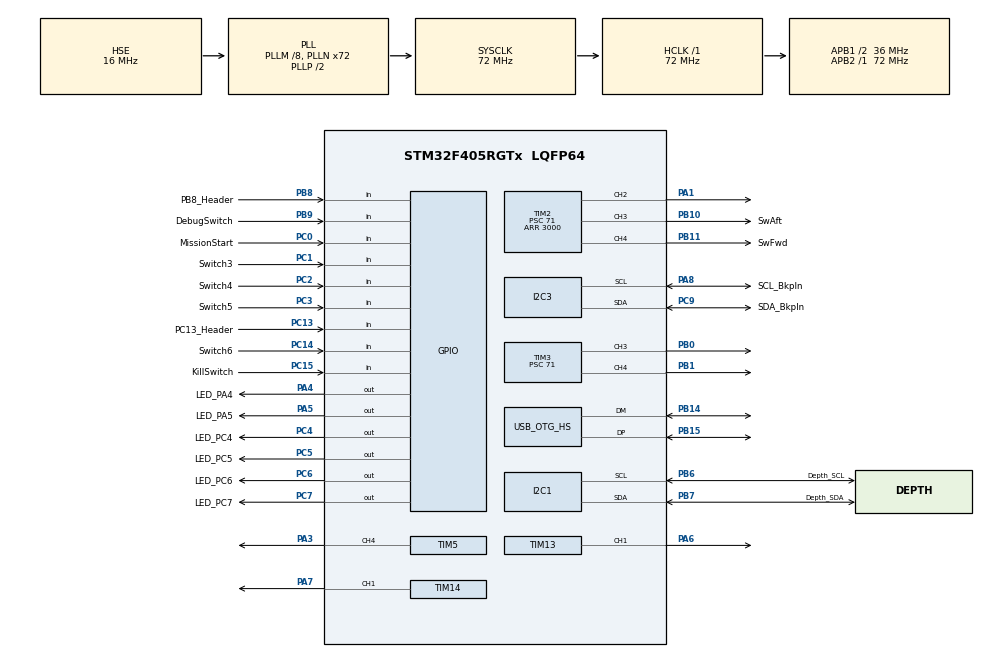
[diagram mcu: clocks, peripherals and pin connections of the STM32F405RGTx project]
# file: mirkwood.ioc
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FREERTOS.Tasks01=defaultTask,0,128,StartDefaultTask,Default,NULL
Mcu.Family=STM32F4
Mcu.Name=STM32F405RGTx
Mcu.Package=LQFP64
NVIC.OTG_HS_IRQn=true\:5\:0\:false\:false\:true\:true\:false
NVIC.PriorityGroup=NVIC_PRIORITYGROUP_4
NVIC.TIM1_UP_TIM10_IRQn=true\:0\:0\:false\:false\:true\:false\:false
NVIC.TimeBase=TIM1_UP_TIM10_IRQn
NVIC.TimeBaseIP=TIM1
PA1.Signal=S_TIM2_CH2
PA13.Mode=JTAG_5_pins
PA13.Signal=SYS_JTMS-SWDIO
PA14.Mode=JTAG_5_pins
PA14.Signal=SYS_JTCK-SWCLK
PA15.Mode=JTAG_5_pins
PA15.Signal=SYS_JTDI
PA3.Signal=S_TIM5_CH4
PA4.GPIO_Label=LED_PA4
PA4.PinState=GPIO_PIN_RESET
PA4.Signal=GPIO_Output
PA5.GPIO_Label=LED_PA5
PA5.Signal=GPIO_Output
PA6.Signal=S_TIM13_CH1
PA7.Signal=S_TIM14_CH1
PA8.GPIO_Label=SCL_Bkpln
PA8.Mode=I2C
PA8.Signal=I2C3_SCL
PB0.Signal=S_TIM3_CH3
PB1.Signal=S_TIM3_CH4
PB10.GPIO_Label=SwAft
PB10.Signal=S_TIM2_CH3
PB11.GPIO_Label=SwFwd
PB11.Signal=S_TIM2_CH4
PB14.Mode=Device_Only_FS
PB14.Signal=USB_OTG_HS_DM
PB15.Mode=Device_Only_FS
PB15.Signal=USB_OTG_HS_DP
PB3.Mode=JTAG_5_pins
PB3.Signal=SYS_JTDO-SWO
PB4.Mode=JTAG_5_pins
PB4.Signal=SYS_JTRST
PB6.GPIO_Label=Depth_SCL
PB6.Mode=I2C
PB6.Signal=I2C1_SCL
PB7.GPIO_Label=Depth_SDA
PB7.Mode=I2C
PB7.Signal=I2C1_SDA
PB8.GPIO_Label=PB8_Header
PB8.Signal=GPIO_Input
PB9.GPIO_Label=DebugSwitch
PB9.Signal=GPIO_Input
PC0.GPIO_Label=MissionStart
PC0.GPIO_PuPd=GPIO_PULLDOWN
PC0.Signal=GPIO_Input
PC1.GPIO_Label=Switch3
PC1.GPIO_PuPd=GPIO_PULLDOWN
PC1.Signal=GPIO_Input
PC13-ANTI_TAMP.GPIO_Label=PC13_Header
PC13-ANTI_TAMP.Signal=GPIO_Input
PC14-OSC32_IN.GPIO_Label=Switch6
PC14-OSC32_IN.GPIO_PuPd=GPIO_PULLDOWN
PC14-OSC32_IN.Signal=GPIO_Input
PC15-OSC32_OUT.GPIO_Label=KillSwitch
PC15-OSC32_OUT.GPIO_PuPd=GPIO_PULLDOWN
PC15-OSC32_OUT.Signal=GPIO_Input
PC2.GPIO_Label=Switch4
PC2.GPIO_PuPd=GPIO_PULLDOWN
PC2.Signal=GPIO_Input
PC3.GPIO_Label=Switch5
PC3.GPIO_PuPd=GPIO_PULLDOWN
PC3.Signal=GPIO_Input
PC4.GPIO_Label=LED_PC4
PC4.Signal=GPIO_Output
PC5.GPIO_Label=LED_PC5
PC5.Signal=GPIO_Output
PC6.GPIO_Label=LED_PC6
PC6.Signal=GPIO_Output
PC7.GPIO_Label=LED_PC7
PC7.Signal=GPIO_Output
PC9.GPIO_Label=SDA_Bkpln
PC9.Mode=I2C
PC9.Signal=I2C3_SDA
PH0-OSC_IN.Mode=HSE-External-Oscillator
PH0-OSC_IN.Signal=RCC_OSC_IN
PH1-OSC_OUT.Mode=HSE-External-Oscillator
PH1-OSC_OUT.Signal=RCC_OSC_OUT
ProjectManager.HeapSize=0x200
ProjectManager.StackSize=0x400
ProjectManager.TargetToolchain=Makefile
RCC.48MHZClocksFreq_Value=48000000
RCC.AHBFreq_Value=72000000
RCC.APB1CLKDivider=RCC_HCLK_DIV2
RCC.APB1Freq_Value=36000000
RCC.APB1TimFreq_Value=72000000
RCC.APB2Freq_Value=72000000
RCC.APB2TimFreq_Value=72000000
RCC.CortexFreq_Value=72000000
RCC.HCLKFreq_Value=72000000
RCC.HSE_VALUE=16000000
RCC.HSI_VALUE=16000000
RCC.LSE_VALUE=32768
RCC.PLLM=8
RCC.PLLN=72
RCC.PLLQ=3
RCC.SYSCLKFreq_VALUE=72000000
RCC.SYSCLKSource=RCC_SYSCLKSOURCE_PLLCLK
RCC.VCOOutputFreq_Value=144000000
SH.S_TIM13_CH1.0=TIM13_CH1,PWM Generation1 CH1
SH.S_TIM14_CH1.0=TIM14_CH1,PWM Generation1 CH1
SH.S_TIM2_CH2.0=TIM2_CH2,PWM Generation2 CH2
SH.S_TIM2_CH3.0=TIM2_CH3,PWM Generation3 CH3
SH.S_TIM2_CH4.0=TIM2_CH4,PWM Generation4 CH4
SH.S_TIM3_CH3.0=TIM3_CH3,PWM Generation3 CH3
SH.S_TIM3_CH4.0=TIM3_CH4,PWM Generation4 CH4
SH.S_TIM5_CH4.0=TIM5_CH4,PWM Generation4 CH4
TIM13.Channel=TIM_CHANNEL_1
TIM13.Period=3000
TIM13.Prescaler=71
TIM13.Pulse=1500
TIM14.Channel=TIM_CHANNEL_1
TIM14.Period=3000
TIM14.Prescaler=71
TIM14.Pulse=1500
TIM2.Channel-PWM\ Generation2\ CH2=TIM_CHANNEL_2
TIM2.Channel-PWM\ Generation3\ CH3=TIM_CHANNEL_3
TIM2.Channel-PWM\ Generation4\ CH4=TIM_CHANNEL_4
TIM2.Period=3000
TIM2.Prescaler=71
TIM2.Pulse-PWM\ Generation3\ CH3=1500
TIM2.Pulse-PWM\ Generation4\ CH4=1500
TIM3.Channel-PWM\ Generation3\ CH3=TIM_CHANNEL_3
TIM3.Channel-PWM\ Generation4\ CH4=TIM_CHANNEL_4
TIM3.Period=3000
TIM3.Prescaler=71
TIM3.Pulse-PWM\ Generation3\ CH3=1500
TIM3.Pulse-PWM\ Generation4\ CH4=1500
TIM5.Channel-PWM\ Generation4\ CH4=TIM_CHANNEL_4
TIM5.Period=3000
TIM5.Prescaler=71
TIM5.Pulse-PWM\ Generation4\ CH4=1500
USB_DEVICE.CLASS_NAME_HS=CDC
USB_DEVICE.PRODUCT_STRING_CDC_HS=STM32Corpro
USB_DEVICE.VirtualMode-CDC_HS=Cdc
USB_DEVICE.VirtualModeHS=Cdc_HS
USB_OTG_HS.VirtualMode-Device_Only_FS=Device_Only_FS
VP_FREERTOS_VS_ENABLE.Mode=Enabled
VP_SYS_VS_tim1.Mode=TIM1
VP_TIM13_VS_ClockSourceINT.Mode=Enable_Timer
VP_TIM14_VS_ClockSourceINT.Mode=Enable_Timer
VP_USB_DEVICE_VS_USB_DEVICE_CDC_HS.Mode=CDC_HS
board=mirkwood

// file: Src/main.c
/**
  ******************************************************************************
  * @file           : main.c
  * @brief          : Main program body
  ******************************************************************************
  * This notice applies to any and all portions of this file
  * that are not between comment pairs USER CODE BEGIN and
  * USER CODE END. Other portions of this file, whether
  * inserted by the user or by software development tools
  * are owned by their respective copyright owners.
  *
  * Copyright (c) 2018 STMicroelectronics International N.V.
  * All rights reserved.
  *
  * Redistribution and use in source and binary forms, with or without
  * modification, are permitted, provided that the following conditions are met:
  *
  * 1. Redistribution of source code must retain the above copyright notice,
  *    this list of conditions and the following disclaimer.
  * 2. Redistributions in binary form must reproduce the above copyright notice,
  *    this list of conditions and the following disclaimer in the documentation
  *    and/or other materials provided with the distribution.
  * 3. Neither the name of STMicroelectronics nor the names of other
  *    contributors to this software may be used to endorse or promote products
  *    derived from this software without specific written permission.
  * 4. This software, including modifications and/or derivative works of this
  *    software, must execute solely and exclusively on microcontroller or
  *    microprocessor devices manufactured by or for STMicroelectronics.
  * 5. Redistribution and use of this software other than as permitted under
  *    this license is void and will automatically terminate your rights under
  *    this license.
  *
  * THIS SOFTWARE IS PROVIDED BY STMICROELECTRONICS AND CONTRIBUTORS "AS IS"
  * AND ANY EXPRESS, IMPLIED OR STATUTORY WARRANTIES, INCLUDING, BUT NOT
  * LIMITED TO, THE IMPLIED WARRANTIES OF MERCHANTABILITY, FITNESS FOR A
  * PARTICULAR PURPOSE AND NON-INFRINGEMENT OF THIRD PARTY INTELLECTUAL PROPERTY
  * RIGHTS ARE DISCLAIMED TO THE FULLEST EXTENT PERMITTED BY LAW. IN NO EVENT
  * SHALL STMICROELECTRONICS OR CONTRIBUTORS BE LIABLE FOR ANY DIRECT, INDIRECT,
  * INCIDENTAL, SPECIAL, EXEMPLARY, OR CONSEQUENTIAL DAMAGES (INCLUDING, BUT NOT
  * LIMITED TO, PROCUREMENT OF SUBSTITUTE GOODS OR SERVICES; LOSS OF USE, DATA,
  * OR PROFITS; OR BUSINESS INTERRUPTION) HOWEVER CAUSED AND ON ANY THEORY OF
  * LIABILITY, WHETHER IN CONTRACT, STRICT LIABILITY, OR TORT (INCLUDING
  * NEGLIGENCE OR OTHERWISE) ARISING IN ANY WAY OUT OF THE USE OF THIS SOFTWARE,
  * EVEN IF ADVISED OF THE POSSIBILITY OF SUCH DAMAGE.
  *
  ******************************************************************************
  */
#include "main.h"
#include "stm32f4xx_hal.h"
#include "cmsis_os.h"
#include "usb_device.h"
#include "../Middlewares/Third_Party/FreeRTOS/Source/CMSIS_RTOS/cmsis_os.h"

/* USER CODE BEGIN Includes */
#include "riptideMain.h"
/* USER CODE END Includes */

I2C_HandleTypeDef hi2c1;
I2C_HandleTypeDef hi2c3;

TIM_HandleTypeDef htim2;
TIM_HandleTypeDef htim3;
TIM_HandleTypeDef htim5;
TIM_HandleTypeDef htim13;
TIM_HandleTypeDef htim14;

osThreadId defaultTaskHandle;

/* USER CODE BEGIN PV */
/* Private variables ---------------------------------------------------------*/

/* USER CODE END PV */

void SystemClock_Config(void);
static void MX_GPIO_Init(void);
static void MX_TIM2_Init(void);
static void MX_TIM13_Init(void);
static void MX_TIM14_Init(void);
static void MX_I2C3_Init(void);
static void MX_I2C1_Init(void);
static void MX_TIM3_Init(void);
static void MX_TIM5_Init(void);
void StartDefaultTask(void const * argument);

void HAL_TIM_MspPostInit(TIM_HandleTypeDef *htim);

/* USER CODE BEGIN PFP */
/* Private function prototypes -----------------------------------------------*/
I2C_HandleTypeDef* getDepthI2CRef();
I2C_HandleTypeDef* getBackplaneI2CRef();
/* USER CODE END PFP */

int main(void)
{

  /* MCU Configuration----------------------------------------------------------*/

  /* Reset of all peripherals, Initializes the Flash interface and the Systick. */
  HAL_Init();

  /* Configure the system clock */
  SystemClock_Config();

  /* Initialize all configured peripherals */
  MX_GPIO_Init();
  MX_TIM2_Init();
  MX_TIM13_Init();
  MX_TIM14_Init();
  MX_I2C3_Init();
  MX_I2C1_Init();
  MX_TIM3_Init();
  MX_TIM5_Init();

  /* USER CODE BEGIN RTOS_TIMERS */
  HAL_TIM_PWM_Start(&htim2, TIM_CHANNEL_1);
  HAL_TIM_PWM_Start(&htim2, TIM_CHANNEL_2);
  HAL_TIM_PWM_Start(&htim2, TIM_CHANNEL_3);
  HAL_TIM_PWM_Start(&htim2, TIM_CHANNEL_4);
  HAL_TIM_PWM_Start(&htim3, TIM_CHANNEL_3);
  HAL_TIM_PWM_Start(&htim3, TIM_CHANNEL_4);
  HAL_TIM_PWM_Start(&htim5, TIM_CHANNEL_3);
  HAL_TIM_PWM_Start(&htim5, TIM_CHANNEL_4);
  HAL_TIM_PWM_Start(&htim13, TIM_CHANNEL_1);
  HAL_TIM_PWM_Start(&htim14, TIM_CHANNEL_1);
  /* USER CODE END RTOS_TIMERS */

  /* Create the thread(s) */
  /* definition and creation of defaultTask */
  osThreadDef(defaultTask, StartDefaultTask, osPriorityNormal, 0, 128);
  defaultTaskHandle = osThreadCreate(osThread(defaultTask), NULL);

  /* USER CODE BEGIN RTOS_THREADS */
  riptideMain();

  /* USER CODE END RTOS_THREADS */

  /* Start scheduler */
  osKernelStart();

  /* We should never get here as control is now taken by the scheduler */

  /* Infinite loop */
  while (1)
  {

  }

}

void SystemClock_Config(void)
{

  RCC_OscInitTypeDef RCC_OscInitStruct;
  RCC_ClkInitTypeDef RCC_ClkInitStruct;

    /**Configure the main internal regulator output voltage
    */
  __HAL_RCC_PWR_CLK_ENABLE();

  __HAL_PWR_VOLTAGESCALING_CONFIG(PWR_REGULATOR_VOLTAGE_SCALE1);

    /**Initializes the CPU, AHB and APB busses clocks
    */
  RCC_OscInitStruct.OscillatorType = RCC_OSCILLATORTYPE_HSE;
  RCC_OscInitStruct.HSEState = RCC_HSE_ON;
  RCC_OscInitStruct.PLL.PLLState = RCC_PLL_ON;
  RCC_OscInitStruct.PLL.PLLSource = RCC_PLLSOURCE_HSE;
  RCC_OscInitStruct.PLL.PLLM = 8;
  RCC_OscInitStruct.PLL.PLLN = 72;
  RCC_OscInitStruct.PLL.PLLP = RCC_PLLP_DIV2;
  RCC_OscInitStruct.PLL.PLLQ = 3;
  if (HAL_RCC_OscConfig(&RCC_OscInitStruct) != HAL_OK)
  {
    _Error_Handler(__FILE__, __LINE__);
  }

    /**Initializes the CPU, AHB and APB busses clocks
    */
  RCC_ClkInitStruct.ClockType = RCC_CLOCKTYPE_HCLK|RCC_CLOCKTYPE_SYSCLK
                              |RCC_CLOCKTYPE_PCLK1|RCC_CLOCKTYPE_PCLK2;
  RCC_ClkInitStruct.SYSCLKSource = RCC_SYSCLKSOURCE_PLLCLK;
  RCC_ClkInitStruct.AHBCLKDivider = RCC_SYSCLK_DIV1;
  RCC_ClkInitStruct.APB1CLKDivider = RCC_HCLK_DIV2;
  RCC_ClkInitStruct.APB2CLKDivider = RCC_HCLK_DIV1;

  if (HAL_RCC_ClockConfig(&RCC_ClkInitStruct, FLASH_LATENCY_2) != HAL_OK)
  {
    _Error_Handler(__FILE__, __LINE__);
  }

    /**Configure the Systick interrupt time
    */
  HAL_SYSTICK_Config(HAL_RCC_GetHCLKFreq()/1000);

    /**Configure the Systick
    */
  HAL_SYSTICK_CLKSourceConfig(SYSTICK_CLKSOURCE_HCLK);

  /* SysTick_IRQn interrupt configuration */
  HAL_NVIC_SetPriority(SysTick_IRQn, 15, 0);
}

/* I2C1 init function */
static void MX_I2C1_Init(void)
{

  hi2c1.Instance = I2C1;
  hi2c1.Init.ClockSpeed = 100000;
  hi2c1.Init.DutyCycle = I2C_DUTYCYCLE_2;
  hi2c1.Init.OwnAddress1 = 0;
  hi2c1.Init.AddressingMode = I2C_ADDRESSINGMODE_7BIT;
  hi2c1.Init.DualAddressMode = I2C_DUALADDRESS_DISABLE;
  hi2c1.Init.OwnAddress2 = 0;
  hi2c1.Init.GeneralCallMode = I2C_GENERALCALL_DISABLE;
  hi2c1.Init.NoStretchMode = I2C_NOSTRETCH_DISABLE;
  if (HAL_I2C_Init(&hi2c1) != HAL_OK)
  {
    _Error_Handler(__FILE__, __LINE__);
  }

}

/* I2C3 init function */
static void MX_I2C3_Init(void)
{

  hi2c3.Instance = I2C3;
  hi2c3.Init.ClockSpeed = 100000;
  hi2c3.Init.DutyCycle = I2C_DUTYCYCLE_2;
  hi2c3.Init.OwnAddress1 = 0;
  hi2c3.Init.AddressingMode = I2C_ADDRESSINGMODE_7BIT;
  hi2c3.Init.DualAddressMode = I2C_DUALADDRESS_DISABLE;
  hi2c3.Init.OwnAddress2 = 0;
  hi2c3.Init.GeneralCallMode = I2C_GENERALCALL_DISABLE;
  hi2c3.Init.NoStretchMode = I2C_NOSTRETCH_DISABLE;
  if (HAL_I2C_Init(&hi2c3) != HAL_OK)
  {
    _Error_Handler(__FILE__, __LINE__);
  }

}

/* TIM2 init function */
static void MX_TIM2_Init(void)
{

  TIM_MasterConfigTypeDef sMasterConfig;
  TIM_OC_InitTypeDef sConfigOC;

  htim2.Instance = TIM2;
  htim2.Init.Prescaler = 71;
  htim2.Init.CounterMode = TIM_COUNTERMODE_UP;
  htim2.Init.Period = 3000;
  htim2.Init.ClockDivision = TIM_CLOCKDIVISION_DIV1;
  if (HAL_TIM_PWM_Init(&htim2) != HAL_OK)
  {
    _Error_Handler(__FILE__, __LINE__);
  }

  sMasterConfig.MasterOutputTrigger = TIM_TRGO_RESET;
  sMasterConfig.MasterSlaveMode = TIM_MASTERSLAVEMODE_DISABLE;
  if (HAL_TIMEx_MasterConfigSynchronization(&htim2, &sMasterConfig) != HAL_OK)
  {
    _Error_Handler(__FILE__, __LINE__);
  }

  sConfigOC.OCMode = TIM_OCMODE_PWM1;
  sConfigOC.Pulse = 1500;
  sConfigOC.OCPolarity = TIM_OCPOLARITY_HIGH;
  sConfigOC.OCFastMode = TIM_OCFAST_DISABLE;
  if (HAL_TIM_PWM_ConfigChannel(&htim2, &sConfigOC, TIM_CHANNEL_2) != HAL_OK)
  {
    _Error_Handler(__FILE__, __LINE__);
  }

  //sConfigOC.Pulse = 1500;
  if (HAL_TIM_PWM_ConfigChannel(&htim2, &sConfigOC, TIM_CHANNEL_3) != HAL_OK)
  {
    _Error_Handler(__FILE__, __LINE__);
  }

  if (HAL_TIM_PWM_ConfigChannel(&htim2, &sConfigOC, TIM_CHANNEL_4) != HAL_OK)
  {
    _Error_Handler(__FILE__, __LINE__);
  }

  HAL_TIM_MspPostInit(&htim2);

}

/* TIM3 init function */
static void MX_TIM3_Init(void)
{

  TIM_MasterConfigTypeDef sMasterConfig;
  TIM_OC_InitTypeDef sConfigOC;

  htim3.Instance = TIM3;
  htim3.Init.Prescaler = 71;
  htim3.Init.CounterMode = TIM_COUNTERMODE_UP;
  htim3.Init.Period = 3000;
  htim3.Init.ClockDivision = TIM_CLOCKDIVISION_DIV1;
  if (HAL_TIM_PWM_Init(&htim3) != HAL_OK)
  {
    _Error_Handler(__FILE__, __LINE__);
  }

  sMasterConfig.MasterOutputTrigger = TIM_TRGO_RESET;
  sMasterConfig.MasterSlaveMode = TIM_MASTERSLAVEMODE_DISABLE;
  if (HAL_TIMEx_MasterConfigSynchronization(&htim3, &sMasterConfig) != HAL_OK)
  {
    _Error_Handler(__FILE__, __LINE__);
  }

  sConfigOC.OCMode = TIM_OCMODE_PWM1;
  sConfigOC.Pulse = 1500;
  sConfigOC.OCPolarity = TIM_OCPOLARITY_HIGH;
  sConfigOC.OCFastMode = TIM_OCFAST_DISABLE;
  if (HAL_TIM_PWM_ConfigChannel(&htim3, &sConfigOC, TIM_CHANNEL_3) != HAL_OK)
  {
    _Error_Handler(__FILE__, __LINE__);
  }

  if (HAL_TIM_PWM_ConfigChannel(&htim3, &sConfigOC, TIM_CHANNEL_4) != HAL_OK)
  {
    _Error_Handler(__FILE__, __LINE__);
  }

  HAL_TIM_MspPostInit(&htim3);

}

/* TIM5 init function */
static void MX_TIM5_Init(void)
{

  TIM_MasterConfigTypeDef sMasterConfig;
  TIM_OC_InitTypeDef sConfigOC;

  htim5.Instance = TIM5;
  htim5.Init.Prescaler = 71;
  htim5.Init.CounterMode = TIM_COUNTERMODE_UP;
  htim5.Init.Period = 3000;
  htim5.Init.ClockDivision = TIM_CLOCKDIVISION_DIV1;
  if (HAL_TIM_PWM_Init(&htim5) != HAL_OK)
  {
    _Error_Handler(__FILE__, __LINE__);
  }

  sMasterConfig.MasterOutputTrigger = TIM_TRGO_RESET;
  sMasterConfig.MasterSlaveMode = TIM_MASTERSLAVEMODE_DISABLE;
  if (HAL_TIMEx_MasterConfigSynchronization(&htim5, &sMasterConfig) != HAL_OK)
  {
    _Error_Handler(__FILE__, __LINE__);
  }

  sConfigOC.OCMode = TIM_OCMODE_PWM1;
  sConfigOC.Pulse = 1500;
  sConfigOC.OCPolarity = TIM_OCPOLARITY_HIGH;
  sConfigOC.OCFastMode = TIM_OCFAST_DISABLE;
  if (HAL_TIM_PWM_ConfigChannel(&htim5, &sConfigOC, TIM_CHANNEL_4) != HAL_OK)
  {
    _Error_Handler(__FILE__, __LINE__);
  }

  HAL_TIM_MspPostInit(&htim5);

}

/* TIM13 init function */
static void MX_TIM13_Init(void)
{

  TIM_OC_InitTypeDef sConfigOC;

  htim13.Instance = TIM13;
  htim13.Init.Prescaler = 71;
  htim13.Init.CounterMode = TIM_COUNTERMODE_UP;
  htim13.Init.Period = 3000;
  htim13.Init.ClockDivision = TIM_CLOCKDIVISION_DIV1;
  if (HAL_TIM_Base_Init(&htim13) != HAL_OK)
  {
    _Error_Handler(__FILE__, __LINE__);
  }

  if (HAL_TIM_PWM_Init(&htim13) != HAL_OK)
  {
    _Error_Handler(__FILE__, __LINE__);
  }

  sConfigOC.OCMode = TIM_OCMODE_PWM1;
  sConfigOC.Pulse = 1500;
  sConfigOC.OCPolarity = TIM_OCPOLARITY_HIGH;
  sConfigOC.OCFastMode = TIM_OCFAST_DISABLE;
  if (HAL_TIM_PWM_ConfigChannel(&htim13, &sConfigOC, TIM_CHANNEL_1) != HAL_OK)
  {
    _Error_Handler(__FILE__, __LINE__);
  }

  HAL_TIM_MspPostInit(&htim13);

}

/* TIM14 init function */
static void MX_TIM14_Init(void)
{

  TIM_OC_InitTypeDef sConfigOC;

  htim14.Instance = TIM14;
  htim14.Init.Prescaler = 71;
  htim14.Init.CounterMode = TIM_COUNTERMODE_UP;
  htim14.Init.Period = 3000;
  htim14.Init.ClockDivision = TIM_CLOCKDIVISION_DIV1;
  if (HAL_TIM_Base_Init(&htim14) != HAL_OK)
  {
    _Error_Handler(__FILE__, __LINE__);
  }

  if (HAL_TIM_PWM_Init(&htim14) != HAL_OK)
  {
    _Error_Handler(__FILE__, __LINE__);
  }

  sConfigOC.OCMode = TIM_OCMODE_PWM1;
  sConfigOC.Pulse = 1500;
  sConfigOC.OCPolarity = TIM_OCPOLARITY_HIGH;
  sConfigOC.OCFastMode = TIM_OCFAST_DISABLE;
  if (HAL_TIM_PWM_ConfigChannel(&htim14, &sConfigOC, TIM_CHANNEL_1) != HAL_OK)
  {
    _Error_Handler(__FILE__, __LINE__);
  }

  HAL_TIM_MspPostInit(&htim14);

}

/** Configure pins as
        * Analog
        * Input
        * Output
        * EVENT_OUT
        * EXTI
*/
static void MX_GPIO_Init(void)
{

  GPIO_InitTypeDef GPIO_InitStruct;

  /* GPIO Ports Clock Enable */
  __HAL_RCC_GPIOC_CLK_ENABLE();
  __HAL_RCC_GPIOH_CLK_ENABLE();
  __HAL_RCC_GPIOA_CLK_ENABLE();
  __HAL_RCC_GPIOB_CLK_ENABLE();

  /*Configure GPIO pin Output Level */
  HAL_GPIO_WritePin(GPIOA, LED_PA4_Pin|LED_PA5_Pin, GPIO_PIN_RESET);

  /*Configure GPIO pin Output Level */
  HAL_GPIO_WritePin(GPIOC, LED_PC4_Pin|LED_PC5_Pin|LED_PC6_Pin|LED_PC7_Pin, GPIO_PIN_RESET);

  /*Configure GPIO pin : PC13_Header_Pin */
  GPIO_InitStruct.Pin = PC13_Header_Pin;
  GPIO_InitStruct.Mode = GPIO_MODE_INPUT;
  GPIO_InitStruct.Pull = GPIO_NOPULL;
  HAL_GPIO_Init(PC13_Header_GPIO_Port, &GPIO_InitStruct);

  /*Configure GPIO pins : Switch6_Pin KillSwitch_Pin MissionStart_Pin Switch3_Pin
                           Switch4_Pin Switch5_Pin */
  GPIO_InitStruct.Pin = Switch6_Pin|KillSwitch_Pin|MissionStart_Pin|Switch3_Pin
                          |Switch4_Pin|Switch5_Pin;
  GPIO_InitStruct.Mode = GPIO_MODE_INPUT;
  GPIO_InitStruct.Pull = GPIO_PULLDOWN;
  HAL_GPIO_Init(GPIOC, &GPIO_InitStruct);

  /*Configure GPIO pins : LED_PA4_Pin LED_PA5_Pin */
  GPIO_InitStruct.Pin = LED_PA4_Pin|LED_PA5_Pin;
  GPIO_InitStruct.Mode = GPIO_MODE_OUTPUT_PP;
  GPIO_InitStruct.Pull = GPIO_NOPULL;
  GPIO_InitStruct.Speed = GPIO_SPEED_FREQ_LOW;
  HAL_GPIO_Init(GPIOA, &GPIO_InitStruct);

  /*Configure GPIO pins : LED_PC4_Pin LED_PC5_Pin LED_PC6_Pin LED_PC7_Pin */
  GPIO_InitStruct.Pin = LED_PC4_Pin|LED_PC5_Pin|LED_PC6_Pin|LED_PC7_Pin;
  GPIO_InitStruct.Mode = GPIO_MODE_OUTPUT_PP;
  GPIO_InitStruct.Pull = GPIO_NOPULL;
  GPIO_InitStruct.Speed = GPIO_SPEED_FREQ_LOW;
  HAL_GPIO_Init(GPIOC, &GPIO_InitStruct);

  /*Configure GPIO pins : PB8_Header_Pin DebugSwitch_Pin */
  GPIO_InitStruct.Pin = PB8_Header_Pin|DebugSwitch_Pin;
  GPIO_InitStruct.Mode = GPIO_MODE_INPUT;
  GPIO_InitStruct.Pull = GPIO_NOPULL;
  HAL_GPIO_Init(GPIOB, &GPIO_InitStruct);

}

/* USER CODE BEGIN 4 */
void writePWM(uint16_t * values) {
    // I wrote this at 1 am, there is a good chance the order or something is wrong
    // spare is TIM2 Channel 3 (on pin 16), need to add in cube mx if we want to add
    htim5.Instance->CCR4 = values[0];		// spl
    htim2.Instance->CCR2 = values[1];		// ssl
    //htim2.Instance->CCR1 = values[1];   // spare
    htim2.Instance->CCR4 = values[2];		// swf
    htim2.Instance->CCR3 = values[3];		// swa
    htim3.Instance->CCR4 = values[4];		// hpa
    htim14.Instance->CCR1 = values[5];	// hsa
    htim13.Instance->CCR1 = values[6];	// hsf
    htim3.Instance->CCR3 = values[7];		// hpf
}

void resetPWM() {
    htim5.Instance->CCR4 = 1500;
    htim2.Instance->CCR2 = 1500;
    htim2.Instance->CCR4 = 1500;
    htim2.Instance->CCR3 = 1500;
    htim3.Instance->CCR4 = 1500;
    htim14.Instance->CCR1 = 1500;
    htim13.Instance->CCR1 = 1500;
    htim3.Instance->CCR3 = 1500;
    //htim2.Instance->CCR1 = 1500;
}

I2C_HandleTypeDef* getDepthI2CRef() {
    return &hi2c1;
}

I2C_HandleTypeDef* getBackplaneI2CRef() {
    return &hi2c3;
}
/* USER CODE END 4 */

/* StartDefaultTask function */
void StartDefaultTask(void const * argument)
{
  /* init code for USB_DEVICE */
  MX_USB_DEVICE_Init();

  for(;;)
  {
    osDelay(1);
  }
}

void HAL_TIM_PeriodElapsedCallback(TIM_HandleTypeDef *htim)
{
  if (htim->Instance == TIM1) {
    HAL_IncTick();
  }
}

void _Error_Handler(char *file, int line)
{
  while(1)
  {
  }
}

/************************ (C) COPYRIGHT STMicroelectronics *****END OF FILE****/
